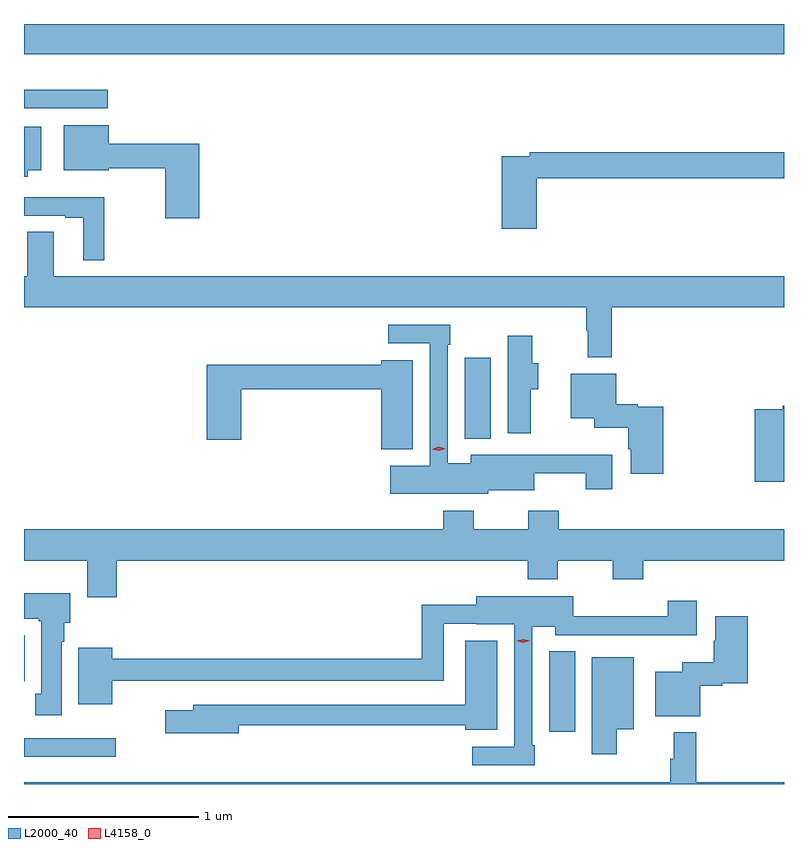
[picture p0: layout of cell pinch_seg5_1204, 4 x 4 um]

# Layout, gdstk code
import gdstk
lib = gdstk.Library(unit=1e-6, precision=1e-09)
def R(c, l, rs):  # rectangles x0, y0, x1, y1
    for r in rs: c.add(gdstk.rectangle(r[:2], r[2:], *l))
def P(c, l, *ps):  # polygons
    for p in ps: c.add(gdstk.Polygon(p, *l))
L2000_40 = (2000, 40)
L4158_0 = (4158, 0)

pinch_seg5_1204 = lib.new_cell('pinch_seg5_1204')
R(pinch_seg5_1204, L2000_40, [(458.965,877.04,459.448,877.137), (461.729,877.17,461.866,877.595), (458.965,877.436,458.968,877.678), (461.285,878.714,461.422,879.139), (458.965,880.452,459.406,880.55), (458.965,880.736,462.965,880.896)])
P(pinch_seg5_1204, L2000_40, [(459.887,880.267),(459.412,880.267),(459.412,880.363),(459.173,880.363),(459.173,880.127),(459.412,880.127),(459.412,880.138),(459.709,880.138),(459.709,879.873),(459.887,879.873)],
  [(458.986,880.127),(459.055,880.127),(459.055,880.354),(458.965,880.354),(458.965,880.091),(458.986,880.091)],
  [(461.663,880.084),(462.965,880.084),(462.965,880.22),(461.626,880.22),(461.626,880.2),(461.48,880.2),(461.48,879.819),(461.663,879.819)],
  [(459.388,879.985),(459.082,879.985),(459.082,879.984),(458.965,879.984),(458.965,879.888),(459.182,879.888),(459.182,879.876),(459.278,879.876),(459.278,879.653),(459.388,879.653)],
  [(462.059,879.404),(462.965,879.404),(462.965,879.568),(459.121,879.568),(459.121,879.803),(458.981,879.803),(458.981,879.568),(458.965,879.568),(458.965,879.404),(461.923,879.404),(461.923,879.281),(461.931,879.281),(461.931,879.141),(462.059,879.141)],
  [(461.409,878.441),(461.65,878.441),(461.65,878.531),(461.921,878.531),(461.921,878.448),(462.061,878.448),(462.061,878.63),(461.546,878.63),(461.546,878.629),(461.315,878.629),(461.315,878.584),(461.196,878.584),(461.196,879.209),(461.209,879.209),(461.209,879.312),(460.881,879.312),(460.881,879.216),(461.1,879.216),(461.1,878.572),(460.893,878.572),(460.893,878.423),(461.409,878.423)],
  [(461.632,878.974),(461.671,878.974),(461.671,879.111),(461.64,879.111),(461.64,879.256),(461.51,879.256),(461.51,878.742),(461.632,878.742)],
  [(461.011,879.127),(460.844,879.127),(460.844,879.103),(459.926,879.103),(459.926,878.709),(460.109,878.709),(460.109,878.974),(460.844,878.974),(460.844,878.657),(461.011,878.657)],
  [(462.329,878.881),(462.195,878.881),(462.195,878.894),(462.082,878.894),(462.082,879.055),(461.843,879.055),(461.843,878.822),(461.966,878.822),(461.966,878.771),(462.146,878.771),(462.146,878.658),(462.158,878.658),(462.158,878.529),(462.329,878.529)],
  [(462.965,878.888),(462.958,878.888),(462.958,878.868),(462.812,878.868),(462.812,878.487),(462.965,878.487)],
  [(459.452,878.072),(461.615,878.072),(461.615,877.973),(461.775,877.973),(461.775,878.072),(462.064,878.072),(462.064,877.973),(462.224,877.973),(462.224,878.072),(462.965,878.072),(462.965,878.236),(461.78,878.236),(461.78,878.335),(461.62,878.335),(461.62,878.236),(461.331,878.236),(461.331,878.335),(461.171,878.335),(461.171,878.236),(458.965,878.236),(458.965,878.072),(459.299,878.072),(459.299,877.878),(459.452,877.878)],
  [(459.163,877.646),(459.178,877.646),(459.178,877.746),(459.208,877.746),(459.208,877.9),(458.965,877.9),(458.965,877.766),(459.043,877.766),(459.043,877.753),(459.056,877.753),(459.056,877.37),(459.023,877.37),(459.023,877.257),(459.163,877.257)],
  [(461.653,877.099),(461.64,877.099),(461.64,877.724),(461.76,877.724),(461.76,877.68),(462.271,877.68),(462.271,877.679),(462.505,877.679),(462.505,877.861),(462.353,877.861),(462.353,877.778),(461.856,877.778),(461.856,877.885),(461.345,877.885),(461.345,877.839),(461.059,877.839),(461.059,877.556),(459.43,877.556),(459.43,877.612),(459.251,877.612),(459.251,877.316),(459.43,877.316),(459.43,877.439),(459.72,877.439),(459.72,877.44),(461.175,877.44),(461.175,877.74),(461.349,877.74),(461.349,877.736),(461.544,877.736),(461.544,877.092),(461.325,877.092),(461.325,876.996),(461.653,876.996)],
  [(462.525,877.413),(462.639,877.413),(462.639,877.427),(462.773,877.427),(462.773,877.78),(462.602,877.78),(462.602,877.65),(462.595,877.65),(462.595,877.537),(462.429,877.537),(462.429,877.486),(462.287,877.486),(462.287,877.253),(462.525,877.253)],
  [(460.096,877.206),(461.288,877.206),(461.288,877.181),(461.455,877.181),(461.455,877.651),(461.288,877.651),(461.288,877.314),(459.857,877.314),(459.857,877.285),(459.708,877.285),(459.708,877.163),(460.096,877.163)],
  [(462.084,877.184),(462.175,877.184),(462.175,877.564),(461.954,877.564),(461.954,877.053),(462.084,877.053)],
  [(462.965,876.904),(462.503,876.904),(462.503,877.168),(462.386,877.168),(462.386,877.028),(462.367,877.028),(462.367,876.904),(458.965,876.904),(458.965,876.896),(462.965,876.896)])
P(pinch_seg5_1204, L4158_0, [(461.592,877.639),(461.558,877.649),(461.557,877.649),(461.558,877.649),(461.592,877.659),(461.627,877.649),(461.627,877.649),(461.627,877.649)],
  [(461.149,878.65),(461.114,878.659),(461.114,878.659),(461.114,878.659),(461.149,878.67),(461.184,878.661),(461.184,878.661),(461.184,878.661)])

lib.write_gds('pinch_seg5_1204.gds')
